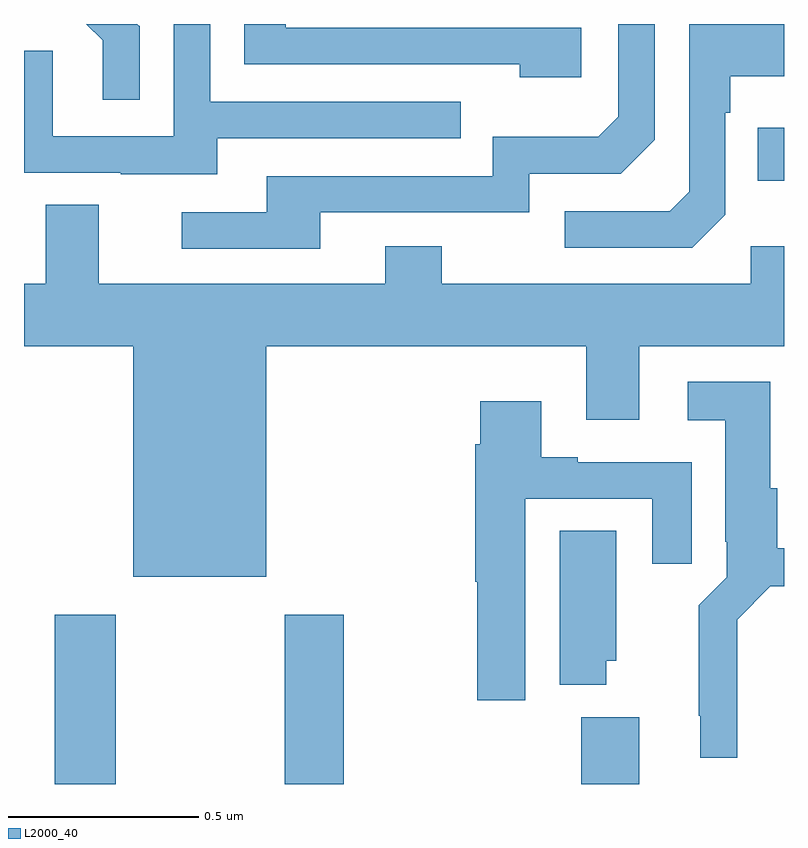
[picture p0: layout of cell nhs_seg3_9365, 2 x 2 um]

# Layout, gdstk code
import gdstk
lib = gdstk.Library(unit=1e-6, precision=1e-09)
def R(c, l, rs):  # rectangles x0, y0, x1, y1
    for r in rs: c.add(gdstk.rectangle(r[:2], r[2:], *l))
def P(c, l, *ps):  # polygons
    for p in ps: c.add(gdstk.Polygon(p, *l))
L2000_40 = (2000, 40)

nhs_seg3_9365 = lib.new_cell('nhs_seg3_9365')
R(nhs_seg3_9365, L2000_40, [(227.081,730.4,227.241,730.846), (227.686,730.4,227.841,730.846), (228.467,730.4,228.619,730.576), (228.931,731.987,229,732.127)])
P(nhs_seg3_9365, L2000_40, [(227.304,732.394),(227.298,732.4),(227.164,732.4),(227.207,732.357),(227.207,732.201),(227.304,732.201)],
  [(228.846,731.898),(228.846,732.167),(228.859,732.167),(228.859,732.263),(229,732.263),(229,732.4),(228.75,732.4),(228.75,731.958),(228.699,731.907),(228.423,731.907),(228.423,731.811),(228.759,731.811)],
  [(228.466,732.39),(227.689,732.39),(227.689,732.4),(227.58,732.4),(227.58,732.294),(228.305,732.294),(228.305,732.26),(228.466,732.26)],
  [(227.779,731.904),(228.33,731.904),(228.33,732.006),(228.57,732.006),(228.66,732.096),(228.66,732.4),(228.564,732.4),(228.564,732.156),(228.511,732.103),(228.234,732.103),(228.234,732),(227.639,732),(227.639,731.904),(227.415,731.904),(227.415,731.808),(227.779,731.808)],
  [(227.509,732.099),(228.149,732.099),(228.149,732.195),(227.49,732.195),(227.49,732.4),(227.394,732.4),(227.394,732.105),(227.076,732.105),(227.076,732.329),(227,732.329),(227,732.009),(227.255,732.009),(227.255,732.005),(227.509,732.005)],
  [(227.638,731.552),(228.479,731.552),(228.479,731.358),(228.619,731.358),(228.619,731.552),(229,731.552),(229,731.815),(228.912,731.815),(228.912,731.716),(228.099,731.716),(228.099,731.815),(227.951,731.815),(227.951,731.716),(227.197,731.716),(227.197,731.924),(227.057,731.924),(227.057,731.716),(227,731.716),(227,731.552),(227.288,731.552),(227.288,730.946),(227.638,730.946)],
  [(228.877,730.832),(228.964,730.92),(229,730.92),(229,731.021),(228.982,731.021),(228.982,731.178),(228.964,731.178),(228.964,731.458),(228.747,731.458),(228.747,731.357),(228.845,731.357),(228.845,731.038),(228.849,731.038),(228.849,730.944),(228.775,730.87),(228.775,730.579),(228.779,730.579),(228.779,730.469),(228.877,730.469)],
  [(228.319,731.151),(228.653,731.151),(228.653,730.98),(228.757,730.98),(228.757,731.247),(228.457,731.247),(228.457,731.26),(228.361,731.26),(228.361,731.407),(228.2,731.407),(228.2,731.294),(228.188,731.294),(228.188,730.932),(228.193,730.932),(228.193,730.62),(228.319,730.62)],
  [(228.532,730.725),(228.559,730.725),(228.559,731.066),(228.41,731.066),(228.41,730.661),(228.532,730.661)])

lib.write_gds('nhs_seg3_9365.gds')
